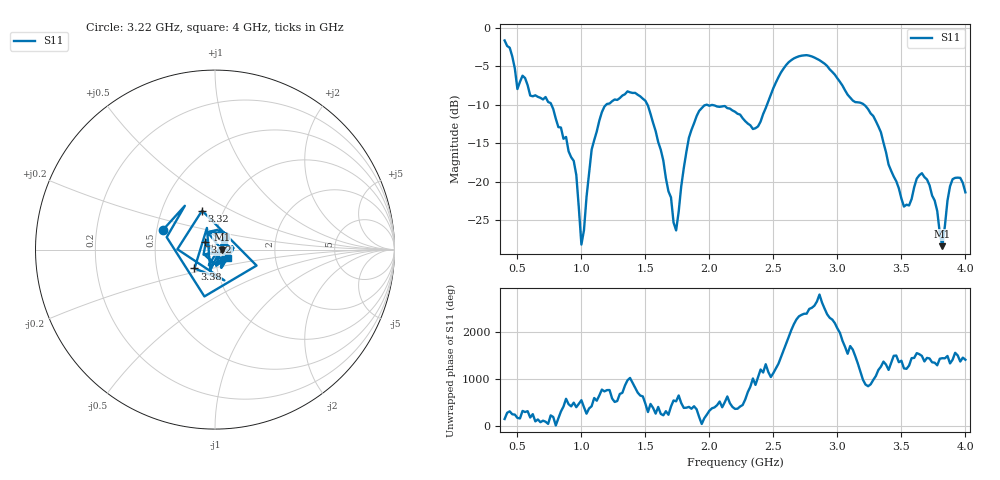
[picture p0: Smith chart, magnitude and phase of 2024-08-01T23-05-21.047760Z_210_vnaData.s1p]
!Created with skrf (http://scikit-rf.org).
# Hz S RI R 50.0
!freq ReS11 ImS11
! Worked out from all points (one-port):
!   181 points, 400 MHz to 4 GHz, reference 50 ohm
!   lowest |S11| = -28.4 dB at 3.82 GHz (marker M1), VSWR 1.08, Z = 53.9 - j0.0732 ohm
!   |S11| at or under -10 dB: 1.517 GHz to 1.976 GHz (458.8 MHz wide, 26.3 % of centre); 1.983 GHz to 2.45 GHz (466.8 MHz wide, 21.1 % of centre); 3.209 GHz to end of sweep (the widest 3 of 4)
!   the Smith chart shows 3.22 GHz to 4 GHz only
!   S11 on the Smith chart (normalised r, x): 3.22 GHz: 0.54, +0.13; 3.32 GHz: 0.79, +0.36; 3.38 GHz: 0.78, -0.17; 3.52 GHz: 0.89, +0.07; 4 GHz: 1.15, -0.11
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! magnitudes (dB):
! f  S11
! 400 MHz  -1.6
! 500 MHz  -7.9
! 720 MHz  -9.0
! 860 MHz  -14.4
! 960 MHz  -19.1
! 1 GHz  -28.2
! 1.08 GHz  -15.8
! 1.18 GHz  -10.2
! 1.3 GHz  -9.1
! 1.52 GHz  -10.1
! 1.72 GHz  -25.3
! 1.76 GHz  -23.9
! 1.84 GHz  -14.3
! 1.92 GHz  -10.8
! 2.2 GHz  -10.9
! 2.38 GHz  -12.8
! 2.66 GHz  -3.9
! 3.1 GHz  -9.1
! 3.22 GHz  -10.1
! 3.32 GHz  -12.8
! 3.38 GHz  -16.2
! 3.52 GHz  -23.3
! 3.56 GHz  -23.1
! 3.66 GHz  -18.9
! 3.76 GHz  -22.5
! 3.82 GHz  -28.4
! 3.9 GHz  -19.7
! 4 GHz  -21.4
